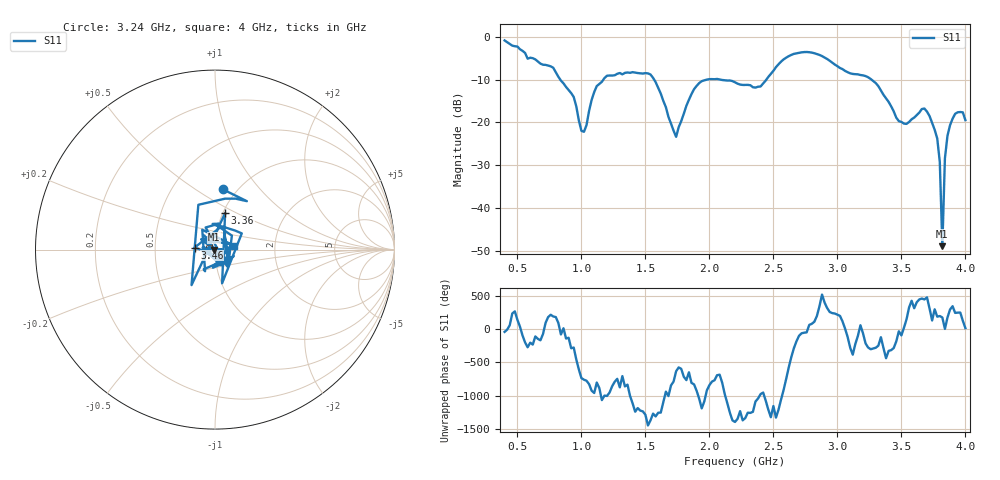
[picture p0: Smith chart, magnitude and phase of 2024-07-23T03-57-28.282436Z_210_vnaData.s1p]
!Created with skrf (http://scikit-rf.org).
# Hz S RI R 50.0
!freq ReS11 ImS11
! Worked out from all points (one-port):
!   181 points, 400 MHz to 4 GHz, reference 50 ohm
!   lowest |S11| = -49.0 dB at 3.82 GHz (marker M1), VSWR 1.01, Z = 49.6 + j0.0518 ohm
!   |S11| at or under -10 dB: 1.569 GHz to 1.975 GHz (406.5 MHz wide, 22.9 % of centre); 2.092 GHz to 2.444 GHz (351.7 MHz wide, 15.5 % of centre); 3.268 GHz to end of sweep (the widest 3 of 4)
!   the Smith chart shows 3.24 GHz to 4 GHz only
!   S11 on the Smith chart (normalised r, x): 3.24 GHz: 0.86, +0.65; 3.36 GHz: 1.03, +0.44; 3.46 GHz: 0.80, +0.02; 4 GHz: 1.23, +0.06
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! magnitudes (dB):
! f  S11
! 400 MHz  -0.8
! 780 MHz  -7.2
! 860 MHz  -10.8
! 940 MHz  -14.0
! 1.02 GHz  -22.2
! 1.12 GHz  -11.5
! 1.3 GHz  -8.4
! 1.54 GHz  -8.8
! 1.74 GHz  -23.4
! 1.76 GHz  -21.1
! 1.92 GHz  -10.8
! 2.2 GHz  -10.6
! 2.4 GHz  -11.6
! 2.66 GHz  -3.9
! 2.86 GHz  -4.2
! 3.1 GHz  -8.5
! 3.24 GHz  -9.4
! 3.36 GHz  -13.5
! 3.46 GHz  -18.9
! 3.56 GHz  -19.9
! 3.68 GHz  -16.7
! 3.78 GHz  -23.7
! 3.8 GHz  -29.3
! 3.82 GHz  -49.0
! 3.84 GHz  -28.4
! 3.86 GHz  -23.1
! 3.92 GHz  -18.0
! 4 GHz  -19.5
